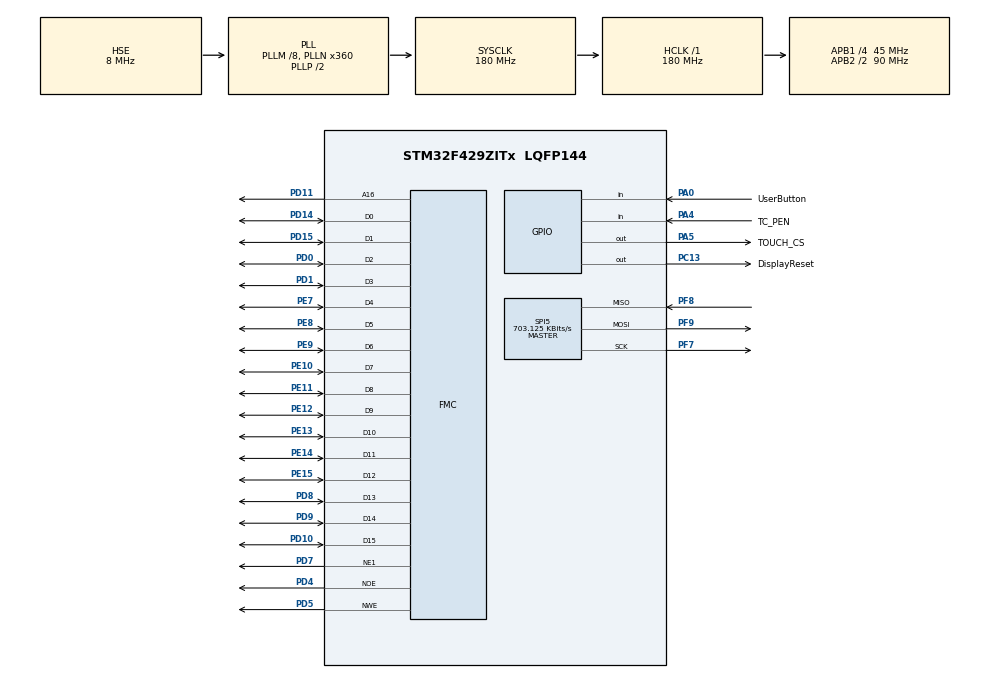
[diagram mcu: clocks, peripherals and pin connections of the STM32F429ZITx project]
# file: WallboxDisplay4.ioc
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FMC.AddressSetupTime1=10
FMC.BusTurnAroundDuration1=10
FMC.DataSetupTime1=10
FREERTOS.Tasks01=defaultTask,24,128,StartDefaultTask,Default,NULL,Dynamic,NULL,NULL
FREERTOS.configENABLE_FPU=1
FREERTOS.configTOTAL_HEAP_SIZE=65536
FREERTOS.configUSE_PREEMPTION=0
Mcu.Family=STM32F4
Mcu.Name=STM32F429ZITx
Mcu.Package=LQFP144
NVIC.PriorityGroup=NVIC_PRIORITYGROUP_4
PA0/WKUP.GPIO_Label=UserButton
PA0/WKUP.Signal=GPIO_Input
PA13.Mode=Serial_Wire
PA13.Signal=SYS_JTMS-SWDIO
PA14.Mode=Serial_Wire
PA14.Signal=SYS_JTCK-SWCLK
PA4.GPIO_Label=TC_PEN
PA4.Signal=GPIO_Input
PA5.GPIO_Label=TOUCH_CS
PA5.Signal=GPIO_Output
PC13.GPIO_Label=DisplayReset
PC13.Signal=GPIO_Output
PD0.Signal=FMC_D2_DA2
PD1.Signal=FMC_D3_DA3
PD10.Signal=FMC_D15_DA15
PD11.Signal=FMC_A16_CLE
PD14.Signal=FMC_D0_DA0
PD15.Signal=FMC_D1_DA1
PD4.Signal=FMC_NOE
PD5.Signal=FMC_NWE
PD7.Mode=NorPsramChipSelect1_1
PD7.Signal=FMC_NE1
PD8.Signal=FMC_D13_DA13
PD9.Signal=FMC_D14_DA14
PE10.Signal=FMC_D7_DA7
PE11.Signal=FMC_D8_DA8
PE12.Signal=FMC_D9_DA9
PE13.Signal=FMC_D10_DA10
PE14.Signal=FMC_D11_DA11
PE15.Signal=FMC_D12_DA12
PE7.Signal=FMC_D4_DA4
PE8.Signal=FMC_D5_DA5
PE9.Signal=FMC_D6_DA6
PF7.Mode=Full_Duplex_Master
PF7.Signal=SPI5_SCK
PF8.Mode=Full_Duplex_Master
PF8.Signal=SPI5_MISO
PF9.Mode=Full_Duplex_Master
PF9.Signal=SPI5_MOSI
PH0/OSC_IN.Mode=HSE-External-Oscillator
PH0/OSC_IN.Signal=RCC_OSC_IN
PH1/OSC_OUT.Mode=HSE-External-Oscillator
PH1/OSC_OUT.Signal=RCC_OSC_OUT
ProjectManager.HeapSize=0x200
ProjectManager.StackSize=0x400
ProjectManager.TargetToolchain=STM32CubeIDE
RCC.48MHZClocksFreq_Value=90000000
RCC.AHBFreq_Value=180000000
RCC.APB1CLKDivider=RCC_HCLK_DIV4
RCC.APB1Freq_Value=45000000
RCC.APB1TimFreq_Value=90000000
RCC.APB2CLKDivider=RCC_HCLK_DIV2
RCC.APB2Freq_Value=90000000
RCC.APB2TimFreq_Value=180000000
RCC.CortexFreq_Value=180000000
RCC.HCLKFreq_Value=180000000
RCC.HSE_VALUE=8000000
RCC.HSI_VALUE=16000000
RCC.LSE_VALUE=32768
RCC.PLLM=8
RCC.PLLN=360
RCC.PLLSourceVirtual=RCC_PLLSOURCE_HSE
RCC.SYSCLKFreq_VALUE=180000000
RCC.SYSCLKSource=RCC_SYSCLKSOURCE_PLLCLK
RCC.VCOOutputFreq_Value=360000000
SH.FMC_A16_CLE.0=FMC_A16,A16_1
SH.FMC_D0_DA0.0=FMC_D0,16b-d1
SH.FMC_D10_DA10.0=FMC_D10,16b-d1
SH.FMC_D11_DA11.0=FMC_D11,16b-d1
SH.FMC_D12_DA12.0=FMC_D12,16b-d1
SH.FMC_D13_DA13.0=FMC_D13,16b-d1
SH.FMC_D14_DA14.0=FMC_D14,16b-d1
SH.FMC_D15_DA15.0=FMC_D15,16b-d1
SH.FMC_D1_DA1.0=FMC_D1,16b-d1
SH.FMC_D2_DA2.0=FMC_D2,16b-d1
SH.FMC_D3_DA3.0=FMC_D3,16b-d1
SH.FMC_D4_DA4.0=FMC_D4,16b-d1
SH.FMC_D5_DA5.0=FMC_D5,16b-d1
SH.FMC_D6_DA6.0=FMC_D6,16b-d1
SH.FMC_D7_DA7.0=FMC_D7,16b-d1
SH.FMC_D8_DA8.0=FMC_D8,16b-d1
SH.FMC_D9_DA9.0=FMC_D9,16b-d1
SH.FMC_NOE.0=FMC_NOE,Lcd1
SH.FMC_NWE.0=FMC_NWE,Lcd1
SPI5.BaudRatePrescaler=SPI_BAUDRATEPRESCALER_128
SPI5.CalculateBaudRate=703.125 KBits/s
SPI5.DataSize=SPI_DATASIZE_16BIT
SPI5.Direction=SPI_DIRECTION_2LINES
SPI5.Mode=SPI_MODE_MASTER
SPI5.VirtualType=VM_MASTER
STMicroelectronics.X-CUBE-TOUCHGFX.4.20.0.ApplicationCcGraphicsJjApplication=TouchGFXOoGenerator
STMicroelectronics.X-CUBE-TOUCHGFX.4.20.0.tgfx_buffering_strategy=Partial
STMicroelectronics.X-CUBE-TOUCHGFX.4.20.0.tgfx_custom_height=480
STMicroelectronics.X-CUBE-TOUCHGFX.4.20.0.tgfx_custom_width=800
STMicroelectronics.X-CUBE-TOUCHGFX.4.20.0.tgfx_display_interface=disp_custom
STMicroelectronics.X-CUBE-TOUCHGFX.4.20.0_IsPackSelfContextualization=true
VP_CRC_VS_CRC.Mode=CRC_Activate
VP_FREERTOS_VS_CMSIS_V2.Mode=CMSIS_V2
VP_STMicroelectronics.X-CUBE-TOUCHGFX_VS_GraphicsJjApplication_4.20.0.Mode=GraphicsJjApplication
board=custom

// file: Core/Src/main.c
/* USER CODE BEGIN Header */
/**
  ******************************************************************************
  * @file           : main.c
  * @brief          : Main program body
  ******************************************************************************
  * @attention
  *
  * Copyright (c) 2022 STMicroelectronics.
  * All rights reserved.
  *
  * This software is licensed under terms that can be found in the LICENSE file
  * in the root directory of this software component.
  * If no LICENSE file comes with this software, it is provided AS-IS.
  *
  ******************************************************************************
  */
/* USER CODE END Header */
#include "main.h"
#include "cmsis_os.h"
#include "app_touchgfx.h"

/* USER CODE BEGIN Includes */
#include "SSD1963_api.h"
#include "SSD1963.h"
#include "board.h"
#include "xpt2046.h"

/* USER CODE END Includes */

CRC_HandleTypeDef hcrc;

SPI_HandleTypeDef hspi5;

SRAM_HandleTypeDef hsram1;

/* Definitions for defaultTask */
osThreadId_t defaultTaskHandle;
const osThreadAttr_t defaultTask_attributes = {
  .name = "defaultTask",
  .stack_size = 128 * 4,
  .priority = (osPriority_t) osPriorityNormal,
};
/* USER CODE BEGIN PV */
/* Definitions for GUI_Task */
osThreadId_t GUI_TaskHandle;
const osThreadAttr_t GUI_Task_attributes = {
  .name = "GUI_Task",
  .stack_size = 8192 * 4,
  .priority = (osPriority_t) osPriorityNormal,
};
/* USER CODE END PV */

void SystemClock_Config(void);
static void MX_GPIO_Init(void);
static void MX_FMC_Init(void);
static void MX_CRC_Init(void);
static void MX_SPI5_Init(void);
void StartDefaultTask(void *argument);

/* USER CODE BEGIN 0 */
void HAL_Delay(uint32_t Delay) {
	vTaskDelay(Delay / portTICK_PERIOD_MS);
}

/* USER CODE END 0 */

int main(void)
{

  /* MCU Configuration--------------------------------------------------------*/

  /* Reset of all peripherals, Initializes the Flash interface and the Systick. */
  HAL_Init();

  /* Configure the system clock */
  SystemClock_Config();

  /* Initialize all configured peripherals */
  MX_GPIO_Init();
  MX_FMC_Init();
  MX_CRC_Init();
  MX_SPI5_Init();
  MX_TouchGFX_Init();
  /* Call PreOsInit function */
  MX_TouchGFX_PreOSInit();
  /* USER CODE BEGIN 2 */

  setupDefaultGpios();

  // set up LCD
  HAL_GPIO_WritePin(DisplayReset_GPIO_Port, DisplayReset_Pin, GPIO_PIN_RESET);
  vTaskDelay(500 / portTICK_PERIOD_MS);
  HAL_GPIO_WritePin(DisplayReset_GPIO_Port, DisplayReset_Pin, GPIO_PIN_SET);
  vTaskDelay(500 / portTICK_PERIOD_MS);

  LCD_ResetDevice();
  LCD_Clear(BLACK);
//  LCD_Line(0, 0, 200, 200, YELLOW);
//  LCD_Circle(600, 100, 20, BRIGHTRED, true);
//  LCD_Circle(600, 150, 20, BRIGHTGREEN, true);
//  LCD_Circle(600, 200, 20, BRIGHTBLUE, true);
//  LCD_Circle(650, 100, 20, WHITE, true);
//  LCD_PutChar(500, 100, 'c', BRIGHTYELLOW, BLACK);
//  LCD_Text(200, 50, "Hello World!", 12, BRIGHTCYAN, BLACK);
//
//  uint16_t imag[10000];
//  for (int i = 0; i < 10000; i++) {
//	  if (i < 2000)
//		  imag[i] = WHITE;
//	  else if (i < 4000)
//		  imag[i] = BRIGHTRED;
//	  else if (i < 6000)
//		  imag[i] = BRIGHTGREEN;
//	  else
//		  imag[i] = BRIGHTBLUE;
//  }
//  LCD_DispPicSize(100, 250, 100, 100, (uint8_t *)imag);
//
//  while (1) {
//
//  HAL_Delay(1000);
//}

  // set up touch controller
  xpt2046_init();
  xpt2046_spi(&hspi5);
  xpt2046_orientation(XPT2046_ORIENTATION_LANDSCAPE_NOMIRROR);
  xpt2046_set_size(800, 480);

  // test touch
//  char str[100];
//  while(1) {
//	  HAL_Delay(100);
//	  uint16_t x, y;
//	  xpt2046_read_position(&x, &y);
//	  if (x != 0 && y != 0) {
//		  int len = snprintf(str, 100, "%d, %d            ", x, y);
//		  LCD_Text(0, 300, str, len, WHITE, BLACK);
//	  }
//  }

  /* USER CODE END 2 */

  /* Init scheduler */
  osKernelInitialize();

  /* Create the thread(s) */
  /* creation of defaultTask */
  defaultTaskHandle = osThreadNew(StartDefaultTask, NULL, &defaultTask_attributes);

  /* USER CODE BEGIN RTOS_THREADS */
  /* creation of GUI_Task */
    GUI_TaskHandle = osThreadNew(TouchGFX_Task, NULL, &GUI_Task_attributes);
  /* USER CODE END RTOS_THREADS */

  /* Start scheduler */
  osKernelStart();

  /* We should never get here as control is now taken by the scheduler */
  /* Infinite loop */
  while (1)
  {

  }
}

void SystemClock_Config(void)
{
  RCC_OscInitTypeDef RCC_OscInitStruct = {0};
  RCC_ClkInitTypeDef RCC_ClkInitStruct = {0};

  /** Configure the main internal regulator output voltage
  */
  __HAL_RCC_PWR_CLK_ENABLE();
  __HAL_PWR_VOLTAGESCALING_CONFIG(PWR_REGULATOR_VOLTAGE_SCALE1);

  /** Initializes the RCC Oscillators according to the specified parameters
  * in the RCC_OscInitTypeDef structure.
  */
  RCC_OscInitStruct.OscillatorType = RCC_OSCILLATORTYPE_HSE;
  RCC_OscInitStruct.HSEState = RCC_HSE_ON;
  RCC_OscInitStruct.PLL.PLLState = RCC_PLL_ON;
  RCC_OscInitStruct.PLL.PLLSource = RCC_PLLSOURCE_HSE;
  RCC_OscInitStruct.PLL.PLLM = 8;
  RCC_OscInitStruct.PLL.PLLN = 360;
  RCC_OscInitStruct.PLL.PLLP = RCC_PLLP_DIV2;
  RCC_OscInitStruct.PLL.PLLQ = 4;
  if (HAL_RCC_OscConfig(&RCC_OscInitStruct) != HAL_OK)
  {
    Error_Handler();
  }

  /** Activate the Over-Drive mode
  */
  if (HAL_PWREx_EnableOverDrive() != HAL_OK)
  {
    Error_Handler();
  }

  /** Initializes the CPU, AHB and APB buses clocks
  */
  RCC_ClkInitStruct.ClockType = RCC_CLOCKTYPE_HCLK|RCC_CLOCKTYPE_SYSCLK
                              |RCC_CLOCKTYPE_PCLK1|RCC_CLOCKTYPE_PCLK2;
  RCC_ClkInitStruct.SYSCLKSource = RCC_SYSCLKSOURCE_PLLCLK;
  RCC_ClkInitStruct.AHBCLKDivider = RCC_SYSCLK_DIV1;
  RCC_ClkInitStruct.APB1CLKDivider = RCC_HCLK_DIV4;
  RCC_ClkInitStruct.APB2CLKDivider = RCC_HCLK_DIV2;

  if (HAL_RCC_ClockConfig(&RCC_ClkInitStruct, FLASH_LATENCY_5) != HAL_OK)
  {
    Error_Handler();
  }
}

static void MX_CRC_Init(void)
{

  hcrc.Instance = CRC;
  if (HAL_CRC_Init(&hcrc) != HAL_OK)
  {
    Error_Handler();
  }

}

static void MX_SPI5_Init(void)
{

  /* SPI5 parameter configuration*/
  hspi5.Instance = SPI5;
  hspi5.Init.Mode = SPI_MODE_MASTER;
  hspi5.Init.Direction = SPI_DIRECTION_2LINES;
  hspi5.Init.DataSize = SPI_DATASIZE_16BIT;
  hspi5.Init.CLKPolarity = SPI_POLARITY_LOW;
  hspi5.Init.CLKPhase = SPI_PHASE_1EDGE;
  hspi5.Init.NSS = SPI_NSS_SOFT;
  hspi5.Init.BaudRatePrescaler = SPI_BAUDRATEPRESCALER_128;
  hspi5.Init.FirstBit = SPI_FIRSTBIT_MSB;
  hspi5.Init.TIMode = SPI_TIMODE_DISABLE;
  hspi5.Init.CRCCalculation = SPI_CRCCALCULATION_DISABLE;
  hspi5.Init.CRCPolynomial = 10;
  if (HAL_SPI_Init(&hspi5) != HAL_OK)
  {
    Error_Handler();
  }

}

/* FMC initialization function */
static void MX_FMC_Init(void)
{

  FMC_NORSRAM_TimingTypeDef Timing = {0};

  /** Perform the SRAM1 memory initialization sequence
  */
  hsram1.Instance = FMC_NORSRAM_DEVICE;
  hsram1.Extended = FMC_NORSRAM_EXTENDED_DEVICE;
  /* hsram1.Init */
  hsram1.Init.NSBank = FMC_NORSRAM_BANK1;
  hsram1.Init.DataAddressMux = FMC_DATA_ADDRESS_MUX_DISABLE;
  hsram1.Init.MemoryType = FMC_MEMORY_TYPE_SRAM;
  hsram1.Init.MemoryDataWidth = FMC_NORSRAM_MEM_BUS_WIDTH_16;
  hsram1.Init.BurstAccessMode = FMC_BURST_ACCESS_MODE_DISABLE;
  hsram1.Init.WaitSignalPolarity = FMC_WAIT_SIGNAL_POLARITY_LOW;
  hsram1.Init.WrapMode = FMC_WRAP_MODE_DISABLE;
  hsram1.Init.WaitSignalActive = FMC_WAIT_TIMING_BEFORE_WS;
  hsram1.Init.WriteOperation = FMC_WRITE_OPERATION_ENABLE;
  hsram1.Init.WaitSignal = FMC_WAIT_SIGNAL_DISABLE;
  hsram1.Init.ExtendedMode = FMC_EXTENDED_MODE_DISABLE;
  hsram1.Init.AsynchronousWait = FMC_ASYNCHRONOUS_WAIT_DISABLE;
  hsram1.Init.WriteBurst = FMC_WRITE_BURST_DISABLE;
  hsram1.Init.ContinuousClock = FMC_CONTINUOUS_CLOCK_SYNC_ONLY;
  hsram1.Init.PageSize = FMC_PAGE_SIZE_NONE;
  /* Timing */
  Timing.AddressSetupTime = 10;
  Timing.AddressHoldTime = 15;
  Timing.DataSetupTime = 10;
  Timing.BusTurnAroundDuration = 10;
  Timing.CLKDivision = 16;
  Timing.DataLatency = 17;
  Timing.AccessMode = FMC_ACCESS_MODE_A;
  /* ExtTiming */

  if (HAL_SRAM_Init(&hsram1, &Timing, NULL) != HAL_OK)
  {
    Error_Handler( );
  }

}

static void MX_GPIO_Init(void)
{
  GPIO_InitTypeDef GPIO_InitStruct = {0};

  /* GPIO Ports Clock Enable */
  __HAL_RCC_GPIOC_CLK_ENABLE();
  __HAL_RCC_GPIOF_CLK_ENABLE();
  __HAL_RCC_GPIOH_CLK_ENABLE();
  __HAL_RCC_GPIOA_CLK_ENABLE();
  __HAL_RCC_GPIOE_CLK_ENABLE();
  __HAL_RCC_GPIOD_CLK_ENABLE();

  /*Configure GPIO pin Output Level */
  HAL_GPIO_WritePin(DisplayReset_GPIO_Port, DisplayReset_Pin, GPIO_PIN_RESET);

  /*Configure GPIO pin Output Level */
  HAL_GPIO_WritePin(TOUCH_CS_GPIO_Port, TOUCH_CS_Pin, GPIO_PIN_RESET);

  /*Configure GPIO pin : DisplayReset_Pin */
  GPIO_InitStruct.Pin = DisplayReset_Pin;
  GPIO_InitStruct.Mode = GPIO_MODE_OUTPUT_PP;
  GPIO_InitStruct.Pull = GPIO_NOPULL;
  GPIO_InitStruct.Speed = GPIO_SPEED_FREQ_LOW;
  HAL_GPIO_Init(DisplayReset_GPIO_Port, &GPIO_InitStruct);

  /*Configure GPIO pins : UserButton_Pin TC_PEN_Pin */
  GPIO_InitStruct.Pin = UserButton_Pin|TC_PEN_Pin;
  GPIO_InitStruct.Mode = GPIO_MODE_INPUT;
  GPIO_InitStruct.Pull = GPIO_NOPULL;
  HAL_GPIO_Init(GPIOA, &GPIO_InitStruct);

  /*Configure GPIO pin : TOUCH_CS_Pin */
  GPIO_InitStruct.Pin = TOUCH_CS_Pin;
  GPIO_InitStruct.Mode = GPIO_MODE_OUTPUT_PP;
  GPIO_InitStruct.Pull = GPIO_NOPULL;
  GPIO_InitStruct.Speed = GPIO_SPEED_FREQ_LOW;
  HAL_GPIO_Init(TOUCH_CS_GPIO_Port, &GPIO_InitStruct);

}

void StartDefaultTask(void *argument)
{
  /* USER CODE BEGIN 5 */
  /* Infinite loop */
	int x = 0;
  for(;;)
  {
    osDelay(100 / portTICK_PERIOD_MS);
    touchgfxSignalVSync();

//    LCD_Circle(x, x, 10, RED, true);
    x++;
  }
  /* USER CODE END 5 */
}

void Error_Handler(void)
{
  __disable_irq();
  while (1)
  {
  }
}
